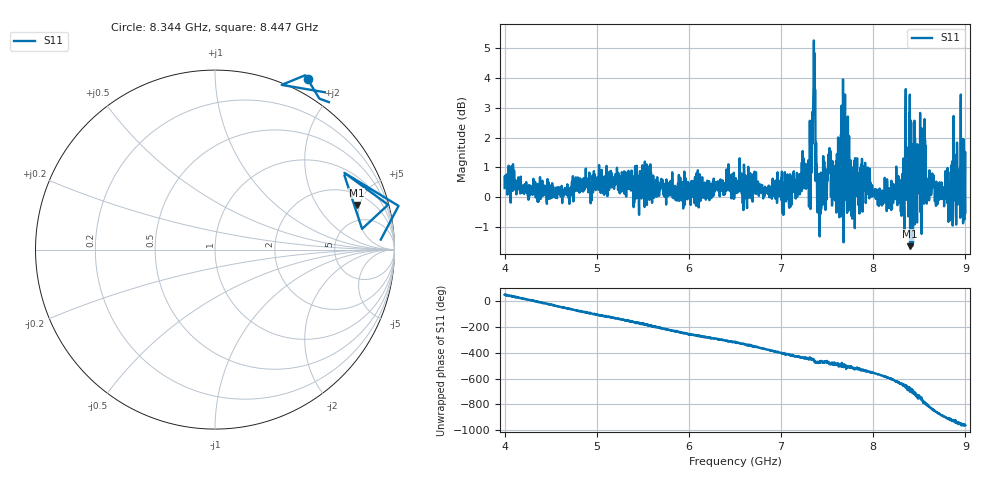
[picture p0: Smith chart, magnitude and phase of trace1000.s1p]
! Created with skrf 1.8.0 (http://scikit-rf.org).
# Hz S RI R 50.0
!freq ReS11 ImS11
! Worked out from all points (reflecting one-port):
!   1601 points, 4 GHz to 9 GHz, reference 50 ohm
!   lowest |S11| = -1.6 dB at 8.4 GHz (marker M1), VSWR 10.59, Z = 148 + j234 ohm
!   phase of S11 starts at 51 deg and turns -1013 deg over the sweep
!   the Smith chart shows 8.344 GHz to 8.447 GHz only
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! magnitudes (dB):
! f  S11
! 4 GHz  0.3
! 4.625 GHz  -0.2
! 5.25 GHz  0.1
! 5.875 GHz  0.3
! 6.5 GHz  0.3
! 7.125 GHz  0.2
! 7.294 GHz  0.4
! 7.319 GHz  -0.4
! 7.347 GHz  3.2
! 7.369 GHz  3.6
! 7.397 GHz  -0.5
! 7.416 GHz  -1.0
! 7.512 GHz  1.4
! 7.619 GHz  2.0
! 7.669 GHz  1.3
! 7.75 GHz  0.6
! 7.784 GHz  0.0
! 7.891 GHz  0.3
! 8.312 GHz  0.3
! 8.375 GHz  1.7
! 8.4 GHz  -1.6
! 8.447 GHz  2.6
! 8.459 GHz  -0.7
! 8.544 GHz  0.8
! 8.603 GHz  0.6
! 8.841 GHz  0.9
! 8.972 GHz  0.4
! 9 GHz  -0.5
